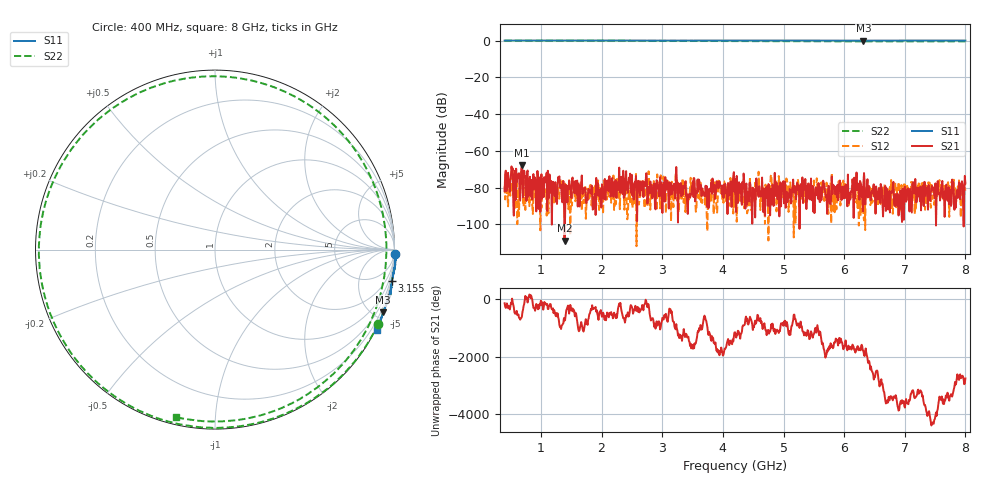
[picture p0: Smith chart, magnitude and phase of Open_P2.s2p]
!Agilent Technologies,N5227A,US51270349,A.09.80.20
!Agilent N5227A: A.09.80.20
!Date: Wednesday, February 17, 2021 20:09:05
!Correction: S11(Full 2 Port(1,2))
!S21(Full 2 Port(1,2))
!S12(Full 2 Port(1,2))
!S22(Full 2 Port(1,2))
!S2P File: Measurements: S11, S21, S12, S22:
# Hz S  RI  R 50
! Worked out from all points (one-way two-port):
!   801 points, 400 MHz to 8 GHz, reference 50 ohm
!   highest |S21| = -67.92 dB at 685 MHz (marker M1); lowest = -108.8 dB at 1.388 GHz (marker M2)
!   lowest |S11| = 0.0 dB at 6.319 GHz (marker M3)
!   |S11| at or under -10 dB: nowhere
!   |S22| runs from -0.4 to 0.0 dB; largest |S21 - S12| = 0.00055
!   S11 on the Smith chart (normalised r, x): 400 MHz: -3, -81; 3.155 GHz: -0, -12; 8 GHz: -0.06, -4.26
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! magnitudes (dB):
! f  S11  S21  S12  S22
! 400 MHz  0.0  -81.9  -79.2  0.0
! 466.5 MHz  0.0  -77.0  -80.7  0.0
! 495 MHz  0.0  -75.9  -84.4  0.0
! 685 MHz  0.0  -67.9  -77.6  0.0
! 713.5 MHz  0.0  -80.8  -90.3  0.0
! 827.5 MHz  0.0  -84.4  -81.8  0.0
! 1.075 GHz  0.1  -75.8  -82.3  0.0
! 1.217 GHz  0.1  -81.0  -89.0  0.0
! 1.388 GHz  0.1  -108.8  -85.3  -0.1
! 1.673 GHz  0.1  -73.4  -92.5  -0.1
! 2.006 GHz  0.0  -78.2  -83.4  -0.1
! 2.433 GHz  0.0  -82.8  -95.0  -0.1
! 2.518 GHz  0.0  -78.3  -85.0  -0.1
! 2.937 GHz  0.0  -81.1  -81.3  -0.2
! 3.155 GHz  0.0  -82.3  -76.8  -0.2
! 4.077 GHz  0.0  -94.3  -79.2  -0.3
! 4.2 GHz  0.1  -75.4  -85.0  -0.3
! 4.504 GHz  0.1  -84.8  -84.0  -0.3
! 5.473 GHz  0.0  -86.6  -86.9  -0.4
! 6.319 GHz  0.0  -77.6  -95.4  -0.4
! 6.737 GHz  0.0  -89.5  -80.9  -0.4
! 8 GHz  0.1  -77.7  -81.6  -0.4
